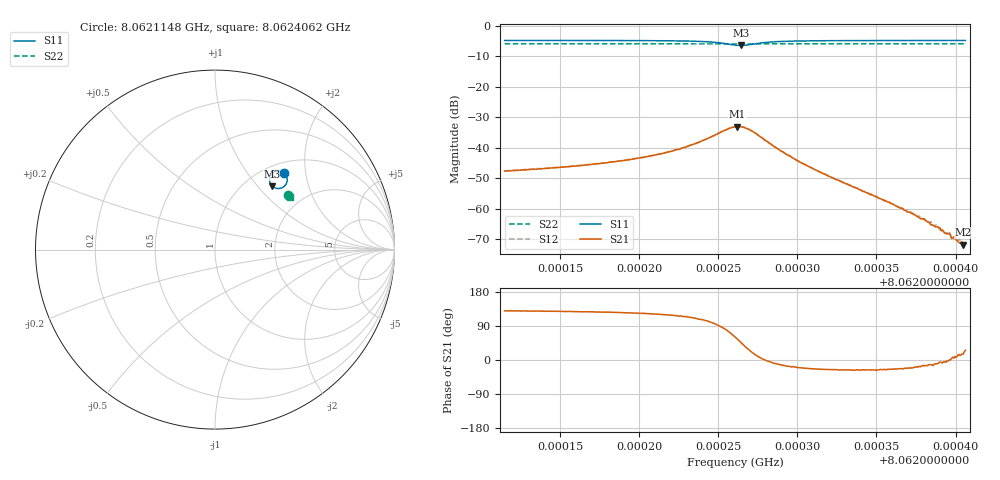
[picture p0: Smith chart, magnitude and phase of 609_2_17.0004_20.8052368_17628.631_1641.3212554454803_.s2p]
#  HZ  S  RI  R  50.00
! Rohde & Schwarz Vector Network Analyzer
! Rohde-Schwarz,ZNB20-2Port,1311601062101988,3.16
! Created: UTC 3/20/2024, 11:19:21 PM
! freq[Hz]  re:S11  im:S11  re:S21  im:S21  re:S12  im:S12  re:S22  im:S22
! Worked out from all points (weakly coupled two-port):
!   401 points, 8.0621148 GHz to 8.0624062 GHz, reference 50 ohm
!   highest |S21| = -33.05 dB at 8.062262 GHz (marker M1); lowest = -71.8 dB at 8.0624048 GHz (marker M2)
!   lowest |S11| = -6.4 dB at 8.0622642 GHz (marker M3), VSWR 2.82, Z = 65.8 + j60.1 ohm
!   |S11| at or under -10 dB: nowhere
!   |S22| runs from -6.0 to -5.9 dB; largest |S21 - S12| = 0.0013
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8.06211477e9  0.3851 0.4282  -0.00267 0.00319  -0.00249 0.00339  0.4068 0.305
8.0621636e9  0.3906 0.4221  -0.0031 0.00408  -0.00291 0.00431  0.4086 0.3025
8.06219274e9  0.395 0.4159  -0.00359 0.0052  -0.00333 0.00548  0.4097 0.3007
8.06221242e9  0.3987 0.4083  -0.00398 0.00674  -0.00361 0.00702  0.4104 0.2993
8.06223282e9  0.4023 0.3917  -0.00426 0.0103  -0.00355 0.0106  0.4111 0.2975
8.06224958e9  0.3914 0.3583  -0.000695 0.017  0.000303 0.0173  0.4106 0.2955
8.06226051e9  0.3417 0.3416  0.0108 0.0192  0.0119 0.0187  0.4087 0.2949
8.06226197e9  0.3323 0.3448  0.0127 0.0183  0.0139 0.0176  0.4084 0.2952
8.06226415e9  0.3197 0.3534  0.0153 0.0161  0.0163 0.0153  0.4079 0.2956
8.06227071e9  0.3041 0.3921  0.0177 0.00714  0.0183 0.00627  0.4079 0.2971
8.06228018e9  0.322 0.4275  0.013 -0.0003  0.0131 -0.000978  0.4096 0.298
8.0622933e9  0.3466 0.4382  0.00748 -0.00215  0.00745 -0.00258  0.4111 0.2975
8.06230933e9  0.362 0.4378  0.00422 -0.00182  0.00416 -0.00209  0.4124 0.2966
8.06235815e9  0.3794 0.4315  0.00117 -0.000527  0.00114 -0.000592  0.4147 0.2936
8.06238001e9  0.3831 0.4292  0.000661 -0.000187  0.000647 -0.000209  0.4155 0.2924
8.06238876e9  0.3843 0.4285  0.0005 -8.23e-05  0.000492 -6.69e-05  0.4158 0.2919
8.06239167e9  0.3846 0.4283  0.000446 -6.34e-05  0.000423 -6.17e-05  0.4158 0.2919
8.06239531e9  0.385 0.4278  0.000387 -1.8e-05  0.000392 -1.09e-05  0.416 0.2916
8.06239896e9  0.3854 0.4276  0.000345 2.89e-05  0.000321 1.84e-06  0.4163 0.2914
8.06240187e9  0.3859 0.4273  0.000273 7.21e-05  0.000299 4.91e-05  0.4164 0.2913
8.06240479e9  0.3862 0.427  0.000249 6.88e-05  0.000237 5.46e-05  0.4165 0.2912
8.06240624e9  0.3864 0.4269  0.000235 0.000112  0.000262 9.33e-05  0.4166 0.291
